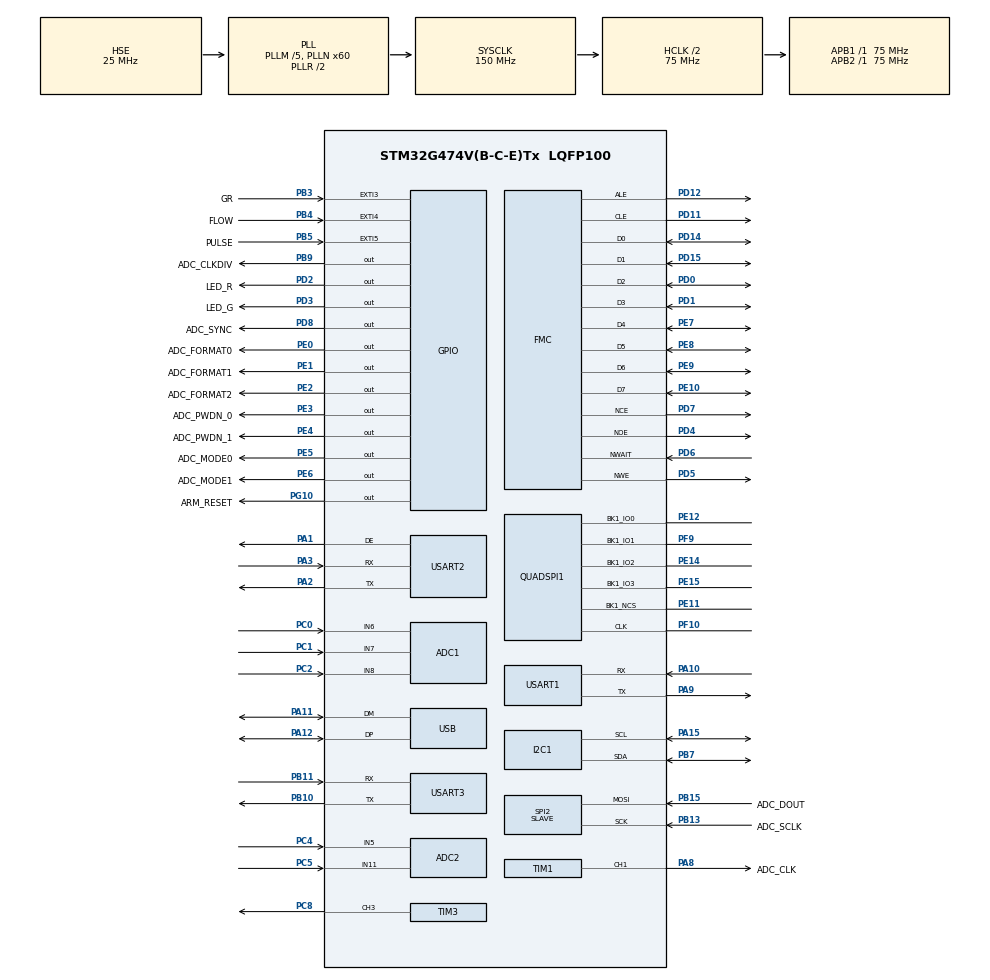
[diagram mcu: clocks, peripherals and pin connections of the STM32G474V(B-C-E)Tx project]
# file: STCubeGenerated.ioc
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ADC1.Channel-0\#ChannelRegularConversion=ADC_CHANNEL_6
ADC1.NbrOfConversionFlag=1
ADC1.OffsetNumber-0\#ChannelRegularConversion=ADC_OFFSET_NONE
ADC1.Rank-0\#ChannelRegularConversion=1
ADC1.SamplingTime-0\#ChannelRegularConversion=ADC_SAMPLETIME_2CYCLES_5
ADC1.master=1
ADC2.Channel-0\#ChannelRegularConversion=ADC_CHANNEL_5
ADC2.NbrOfConversionFlag=1
ADC2.OffsetNumber-0\#ChannelRegularConversion=ADC_OFFSET_NONE
ADC2.Rank-0\#ChannelRegularConversion=1
ADC2.SamplingTime-0\#ChannelRegularConversion=ADC_SAMPLETIME_2CYCLES_5
Dma.Request0=USART1_RX
Dma.Request1=USART1_TX
Dma.Request2=USART2_RX
Dma.Request3=USART2_TX
Dma.Request4=USART3_RX
Dma.Request5=USART3_TX
Dma.USART1_RX.0.Direction=DMA_PERIPH_TO_MEMORY
Dma.USART1_RX.0.EventEnable=DISABLE
Dma.USART1_RX.0.Instance=DMA1_Channel1
Dma.USART1_RX.0.MemDataAlignment=DMA_MDATAALIGN_BYTE
Dma.USART1_RX.0.MemInc=DMA_MINC_ENABLE
Dma.USART1_RX.0.Mode=DMA_CIRCULAR
Dma.USART1_RX.0.PeriphDataAlignment=DMA_PDATAALIGN_BYTE
Dma.USART1_RX.0.PeriphInc=DMA_PINC_DISABLE
Dma.USART1_RX.0.Polarity=HAL_DMAMUX_REQ_GEN_RISING
Dma.USART1_RX.0.Priority=DMA_PRIORITY_LOW
Dma.USART1_RX.0.RequestNumber=1
Dma.USART1_RX.0.SignalID=NONE
Dma.USART1_RX.0.SyncEnable=DISABLE
Dma.USART1_RX.0.SyncPolarity=HAL_DMAMUX_SYNC_NO_EVENT
Dma.USART1_RX.0.SyncRequestNumber=1
Dma.USART1_RX.0.SyncSignalID=NONE
Dma.USART1_TX.1.Direction=DMA_MEMORY_TO_PERIPH
Dma.USART1_TX.1.EventEnable=DISABLE
Dma.USART1_TX.1.Instance=DMA1_Channel2
Dma.USART1_TX.1.MemDataAlignment=DMA_MDATAALIGN_BYTE
Dma.USART1_TX.1.MemInc=DMA_MINC_ENABLE
Dma.USART1_TX.1.Mode=DMA_NORMAL
Dma.USART1_TX.1.PeriphDataAlignment=DMA_PDATAALIGN_BYTE
Dma.USART1_TX.1.PeriphInc=DMA_PINC_DISABLE
Dma.USART1_TX.1.Polarity=HAL_DMAMUX_REQ_GEN_RISING
Dma.USART1_TX.1.Priority=DMA_PRIORITY_LOW
Dma.USART1_TX.1.RequestNumber=1
Dma.USART1_TX.1.SignalID=NONE
Dma.USART1_TX.1.SyncEnable=DISABLE
Dma.USART1_TX.1.SyncPolarity=HAL_DMAMUX_SYNC_NO_EVENT
Dma.USART1_TX.1.SyncRequestNumber=1
Dma.USART1_TX.1.SyncSignalID=NONE
Dma.USART2_RX.2.Direction=DMA_PERIPH_TO_MEMORY
Dma.USART2_RX.2.EventEnable=DISABLE
Dma.USART2_RX.2.Instance=DMA1_Channel3
Dma.USART2_RX.2.MemDataAlignment=DMA_MDATAALIGN_BYTE
Dma.USART2_RX.2.MemInc=DMA_MINC_ENABLE
Dma.USART2_RX.2.Mode=DMA_CIRCULAR
Dma.USART2_RX.2.PeriphDataAlignment=DMA_PDATAALIGN_BYTE
Dma.USART2_RX.2.PeriphInc=DMA_PINC_DISABLE
Dma.USART2_RX.2.Polarity=HAL_DMAMUX_REQ_GEN_RISING
Dma.USART2_RX.2.Priority=DMA_PRIORITY_LOW
Dma.USART2_RX.2.RequestNumber=1
Dma.USART2_RX.2.SignalID=NONE
Dma.USART2_RX.2.SyncEnable=DISABLE
Dma.USART2_RX.2.SyncPolarity=HAL_DMAMUX_SYNC_NO_EVENT
Dma.USART2_RX.2.SyncRequestNumber=1
Dma.USART2_RX.2.SyncSignalID=NONE
Dma.USART2_TX.3.Direction=DMA_MEMORY_TO_PERIPH
Dma.USART2_TX.3.EventEnable=DISABLE
Dma.USART2_TX.3.Instance=DMA1_Channel4
Dma.USART2_TX.3.MemDataAlignment=DMA_MDATAALIGN_BYTE
Dma.USART2_TX.3.MemInc=DMA_MINC_ENABLE
Dma.USART2_TX.3.Mode=DMA_NORMAL
Dma.USART2_TX.3.PeriphDataAlignment=DMA_PDATAALIGN_BYTE
Dma.USART2_TX.3.PeriphInc=DMA_PINC_DISABLE
Dma.USART2_TX.3.Polarity=HAL_DMAMUX_REQ_GEN_RISING
Dma.USART2_TX.3.Priority=DMA_PRIORITY_LOW
Dma.USART2_TX.3.RequestNumber=1
Dma.USART2_TX.3.SignalID=NONE
Dma.USART2_TX.3.SyncEnable=DISABLE
Dma.USART2_TX.3.SyncPolarity=HAL_DMAMUX_SYNC_NO_EVENT
Dma.USART2_TX.3.SyncRequestNumber=1
Dma.USART2_TX.3.SyncSignalID=NONE
Dma.USART3_RX.4.Direction=DMA_PERIPH_TO_MEMORY
Dma.USART3_RX.4.EventEnable=DISABLE
Dma.USART3_RX.4.Instance=DMA1_Channel5
Dma.USART3_RX.4.MemDataAlignment=DMA_MDATAALIGN_BYTE
Dma.USART3_RX.4.MemInc=DMA_MINC_ENABLE
Dma.USART3_RX.4.Mode=DMA_CIRCULAR
Dma.USART3_RX.4.PeriphDataAlignment=DMA_PDATAALIGN_BYTE
Dma.USART3_RX.4.PeriphInc=DMA_PINC_DISABLE
Dma.USART3_RX.4.Polarity=HAL_DMAMUX_REQ_GEN_RISING
Dma.USART3_RX.4.Priority=DMA_PRIORITY_LOW
Dma.USART3_RX.4.RequestNumber=1
Dma.USART3_RX.4.SignalID=NONE
Dma.USART3_RX.4.SyncEnable=DISABLE
Dma.USART3_RX.4.SyncPolarity=HAL_DMAMUX_SYNC_NO_EVENT
Dma.USART3_RX.4.SyncRequestNumber=1
Dma.USART3_RX.4.SyncSignalID=NONE
Dma.USART3_TX.5.Direction=DMA_MEMORY_TO_PERIPH
Dma.USART3_TX.5.EventEnable=DISABLE
Dma.USART3_TX.5.Instance=DMA1_Channel6
Dma.USART3_TX.5.MemDataAlignment=DMA_MDATAALIGN_BYTE
Dma.USART3_TX.5.MemInc=DMA_MINC_ENABLE
Dma.USART3_TX.5.Mode=DMA_NORMAL
Dma.USART3_TX.5.PeriphDataAlignment=DMA_PDATAALIGN_BYTE
Dma.USART3_TX.5.PeriphInc=DMA_PINC_DISABLE
Dma.USART3_TX.5.Polarity=HAL_DMAMUX_REQ_GEN_RISING
Dma.USART3_TX.5.Priority=DMA_PRIORITY_LOW
Dma.USART3_TX.5.RequestNumber=1
Dma.USART3_TX.5.SignalID=NONE
Dma.USART3_TX.5.SyncEnable=DISABLE
Dma.USART3_TX.5.SyncPolarity=HAL_DMAMUX_SYNC_NO_EVENT
Dma.USART3_TX.5.SyncRequestNumber=1
Dma.USART3_TX.5.SyncSignalID=NONE
I2C1.Timing=0x109093DC
Mcu.Family=STM32G4
Mcu.Name=STM32G474V(B-C-E)Tx
Mcu.Package=LQFP100
NVIC.DMA1_Channel1_IRQn=true\:0\:0\:false\:false\:true\:false\:true\:true
NVIC.DMA1_Channel2_IRQn=true\:0\:0\:false\:false\:true\:false\:true\:true
NVIC.DMA1_Channel3_IRQn=true\:0\:0\:false\:false\:true\:false\:true\:true
NVIC.DMA1_Channel4_IRQn=true\:0\:0\:false\:false\:true\:false\:true\:true
NVIC.DMA1_Channel5_IRQn=true\:0\:0\:false\:false\:true\:false\:true\:true
NVIC.DMA1_Channel6_IRQn=true\:0\:0\:false\:false\:true\:false\:true\:true
NVIC.PriorityGroup=NVIC_PRIORITYGROUP_4
NVIC.USART1_IRQn=true\:0\:0\:false\:false\:true\:true\:true\:true
NVIC.USART2_IRQn=true\:0\:0\:false\:false\:true\:true\:true\:true
NVIC.USART3_IRQn=true\:0\:0\:false\:false\:true\:true\:true\:true
PA1.Mode=Hardware Flow Control (RS485)
PA1.Signal=USART2_DE
PA10.Mode=Asynchronous
PA10.Signal=USART1_RX
PA11.Mode=Device
PA11.Signal=USB_DM
PA12.Mode=Device
PA12.Signal=USB_DP
PA13.Mode=Serial_Wire
PA13.Signal=SYS_JTMS-SWDIO
PA14.Mode=Serial_Wire
PA14.Signal=SYS_JTCK-SWCLK
PA15.Mode=I2C
PA15.Signal=I2C1_SCL
PA2.Mode=Asynchronous
PA2.Signal=USART2_TX
PA3.Mode=Asynchronous
PA3.Signal=USART2_RX
PA8.GPIO_Label=ADC_CLK
PA8.Signal=S_TIM1_CH1
PA9.Mode=Asynchronous
PA9.Signal=USART1_TX
PB10.Mode=Asynchronous
PB10.Signal=USART3_TX
PB11.Mode=Asynchronous
PB11.Signal=USART3_RX
PB13.GPIO_Label=ADC_SCLK
PB13.Mode=RX_Only_Simplex_Unidirect_Slave
PB13.Signal=SPI2_SCK
PB15.GPIO_Label=ADC_DOUT
PB15.Mode=RX_Only_Simplex_Unidirect_Slave
PB15.Signal=SPI2_MOSI
PB3.GPIO_Label=GR
PB3.Signal=GPXTI3
PB4.GPIO_Label=FLOW
PB4.Signal=GPXTI4
PB5.GPIO_Label=PULSE
PB5.Signal=GPXTI5
PB7.Mode=I2C
PB7.Signal=I2C1_SDA
PB9.GPIO_Label=ADC_CLKDIV
PB9.Signal=GPIO_Output
PC0.Mode=IN6-Single-Ended
PC0.Signal=ADC1_IN6
PC1.Mode=IN7-Single-Ended
PC1.Signal=ADC1_IN7
PC2.Mode=IN8-Single-Ended
PC2.Signal=ADC1_IN8
PC4.Mode=IN5-Single-Ended
PC4.Signal=ADC2_IN5
PC5.Mode=IN11-Single-Ended
PC5.Signal=ADC2_IN11
PC8.Signal=S_TIM3_CH3
PD0.Mode=8b-dmux1
PD0.Signal=FMC_D2
PD1.Mode=8b-dmux1
PD1.Signal=FMC_D3
PD11.Mode=8b-dmux1
PD11.Signal=FMC_CLE
PD12.Mode=8b-dmux1
PD12.Signal=FMC_ALE
PD14.Mode=8b-dmux1
PD14.Signal=FMC_D0
PD15.Mode=8b-dmux1
PD15.Signal=FMC_D1
PD2.GPIO_Label=LED_R
PD2.GPIO_PuPd=GPIO_NOPULL
PD2.GPIO_Speed=GPIO_SPEED_FREQ_HIGH
PD2.PinState=GPIO_PIN_SET
PD2.Signal=GPIO_Output
PD3.GPIO_Label=LED_G
PD3.GPIO_ModeDefaultOutputPP=GPIO_MODE_OUTPUT_PP
PD3.GPIO_PuPd=GPIO_NOPULL
PD3.GPIO_Speed=GPIO_SPEED_FREQ_HIGH
PD3.PinState=GPIO_PIN_SET
PD3.Signal=GPIO_Output
PD4.Mode=8b-dmux1
PD4.Signal=FMC_NOE
PD5.Mode=8b-dmux1
PD5.Signal=FMC_NWE
PD6.Mode=Wait1
PD6.Signal=FMC_NWAIT
PD7.Mode=NandChipSelect3_1
PD7.Signal=FMC_NCE
PD8.GPIO_Label=ADC_SYNC
PD8.Signal=GPIO_Output
PE0.GPIO_Label=ADC_FORMAT0
PE0.PinState=GPIO_PIN_SET
PE0.Signal=GPIO_Output
PE1.GPIO_Label=ADC_FORMAT1
PE1.PinState=GPIO_PIN_SET
PE1.Signal=GPIO_Output
PE10.Mode=8b-dmux1
PE10.Signal=FMC_D7
PE11.Mode=Single Bank 1
PE11.Signal=QUADSPI1_BK1_NCS
PE12.Mode=Single Bank 1
PE12.Signal=QUADSPI1_BK1_IO0
PE14.Mode=Single Bank 1
PE14.Signal=QUADSPI1_BK1_IO2
PE15.Mode=Single Bank 1
PE15.Signal=QUADSPI1_BK1_IO3
PE2.GPIO_Label=ADC_FORMAT2
PE2.Signal=GPIO_Output
PE3.GPIO_Label=ADC_PWDN_0
PE3.Signal=GPIO_Output
PE4.GPIO_Label=ADC_PWDN_1
PE4.Signal=GPIO_Output
PE5.GPIO_Label=ADC_MODE0
PE5.PinState=GPIO_PIN_SET
PE5.Signal=GPIO_Output
PE6.GPIO_Label=ADC_MODE1
PE6.PinState=GPIO_PIN_SET
PE6.Signal=GPIO_Output
PE7.Mode=8b-dmux1
PE7.Signal=FMC_D4
PE8.Mode=8b-dmux1
PE8.Signal=FMC_D5
PE9.Mode=8b-dmux1
PE9.Signal=FMC_D6
PF0-OSC_IN.Mode=HSE-External-Clock-Source
PF0-OSC_IN.Signal=RCC_OSC_IN
PF10.Mode=Single Bank 1
PF10.Signal=QUADSPI1_CLK
PF9.Mode=Single Bank 1
PF9.Signal=QUADSPI1_BK1_IO1
PG10-NRST.GPIO_Label=ARM_RESET
PG10-NRST.Signal=GPIO_Output
ProjectManager.HeapSize=0x2000
ProjectManager.StackSize=0x2000
ProjectManager.TargetToolchain=MDK-ARM V5.32
RCC.ADC12Freq_Value=150000000
RCC.ADC345Freq_Value=150000000
RCC.AHBCLKDivider=RCC_SYSCLK_DIV2
RCC.AHBFreq_Value=75000000
RCC.APB1Freq_Value=75000000
RCC.APB1TimFreq_Value=75000000
RCC.APB2Freq_Value=75000000
RCC.APB2TimFreq_Value=75000000
RCC.CK48CLockSelection=RCC_USBCLKSOURCE_HSI48
RCC.CortexFreq_Value=75000000
RCC.EXTERNAL_CLOCK_VALUE=12288000
RCC.HCLKFreq_Value=75000000
RCC.HSE_VALUE=25000000
RCC.HSI48_VALUE=48000000
RCC.HSI_VALUE=16000000
RCC.LSE_VALUE=32768
RCC.PLLM=RCC_PLLM_DIV5
RCC.PLLN=60
RCC.PLLQ=RCC_PLLQ_DIV4
RCC.PLLSourceVirtual=RCC_PLLSOURCE_HSE
RCC.SYSCLKFreq_VALUE=150000000
RCC.SYSCLKSource=RCC_SYSCLKSOURCE_PLLCLK
RCC.USBFreq_Value=48000000
RCC.VCOOutputFreq_Value=300000000
SH.S_TIM1_CH1.0=TIM1_CH1,PWM Generation1 CH1
SH.S_TIM3_CH3.0=TIM3_CH3,PWM Generation3 CH3
SPI2.Direction=SPI_DIRECTION_2LINES_RXONLY
SPI2.Mode=SPI_MODE_SLAVE
SPI2.VirtualType=VM_SLAVE
TIM1.Channel-PWM\ Generation1\ CH1=TIM_CHANNEL_1
TIM3.Channel-PWM\ Generation3\ CH3=TIM_CHANNEL_3
USART1.VirtualMode-Asynchronous=VM_ASYNC
USART2.VirtualMode-Asynchronous=VM_ASYNC
USART2.VirtualMode-Hardware\ Flow\ Control\ (RS485)=VM_ASYNC
USART3.VirtualMode-Asynchronous=VM_ASYNC
VP_SYS_VS_DBSignals.Mode=DisableDeadBatterySignals
VP_TIM1_VS_ClockSourceINT.Mode=Internal
board=custom

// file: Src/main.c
/* USER CODE BEGIN Header */
/**
  ******************************************************************************
  * @file           : main.c
  * @brief          : Main program body
  ******************************************************************************
  * @attention
  *
  * Copyright (c) 2022 STMicroelectronics.
  * All rights reserved.
  *
  * This software is licensed under terms that can be found in the LICENSE file
  * in the root directory of this software component.
  * If no LICENSE file comes with this software, it is provided AS-IS.
  *
  ******************************************************************************
  */
/* USER CODE END Header */
#include "main.h"

ADC_HandleTypeDef hadc1;
ADC_HandleTypeDef hadc2;

I2C_HandleTypeDef hi2c1;

QSPI_HandleTypeDef hqspi1;

SPI_HandleTypeDef hspi2;

TIM_HandleTypeDef htim1;
TIM_HandleTypeDef htim3;

UART_HandleTypeDef huart1;
UART_HandleTypeDef huart2;
UART_HandleTypeDef huart3;
DMA_HandleTypeDef hdma_usart1_rx;
DMA_HandleTypeDef hdma_usart1_tx;
DMA_HandleTypeDef hdma_usart2_rx;
DMA_HandleTypeDef hdma_usart2_tx;
DMA_HandleTypeDef hdma_usart3_rx;
DMA_HandleTypeDef hdma_usart3_tx;

PCD_HandleTypeDef hpcd_USB_FS;

NAND_HandleTypeDef hnand1;

void SystemClock_Config(void);
static void MX_GPIO_Init(void);
static void MX_QUADSPI1_Init(void);
static void MX_ADC1_Init(void);
static void MX_FMC_Init(void);
static void MX_I2C1_Init(void);
static void MX_SPI2_Init(void);
static void MX_TIM1_Init(void);
static void MX_TIM3_Init(void);
static void MX_USART1_UART_Init(void);
static void MX_DMA_Init(void);
static void MX_USART3_UART_Init(void);
static void MX_ADC2_Init(void);
static void MX_USB_PCD_Init(void);
static void MX_USART2_UART_Init(void);

/* USER CODE BEGIN 0 */
#if 1
uint32_t HAL_GetTick(void)
{
  static uint32_t ticks = 0U;
  uint32_t i;

  if (osKernelGetState() == osKernelRunning)
  {
    return ((uint32_t)osKernelGetTickCount());
  }

  /* If Kernel is not running wait approximately 1 ms then increment
     and return auxiliary tick counter value */
  for (i = (SystemCoreClock >> 14U); i > 0U; i--)
  {
    __NOP();
    __NOP();
    __NOP();
    __NOP();
    __NOP();
    __NOP();
    __NOP();
    __NOP();
    __NOP();
    __NOP();
    __NOP();
    __NOP();
  }
  return ++ticks;
}
#endif

uint32_t osRtxErrorNotify(uint32_t code, void *object_id)
{
  NVIC_SystemReset();
}
/* USER CODE END 0 */

int main(void)
{

  /* MCU Configuration--------------------------------------------------------*/

  /* Reset of all peripherals, Initializes the Flash interface and the Systick. */
  HAL_Init();

  /* Configure the system clock */
  SystemClock_Config();

  /* USER CODE BEGIN SysInit */
  SystemCoreClockUpdate();
  /* USER CODE END SysInit */

  /* Initialize all configured peripherals */
  MX_GPIO_Init();
  MX_QUADSPI1_Init();
  MX_ADC1_Init();
  MX_FMC_Init();
  MX_I2C1_Init();
  MX_SPI2_Init();
  MX_TIM1_Init();
  MX_TIM3_Init();
  MX_USART1_UART_Init();
  MX_DMA_Init();
  MX_USART3_UART_Init();
  MX_ADC2_Init();
  MX_USB_PCD_Init();
  MX_USART2_UART_Init();
  /* USER CODE BEGIN 2 */
   Creat_user_app_init_task();

	EventRecorderInitialize(EventRecordAll, 1U);
	EventRecorderStart();

  /* Start thread execution */
  osKernelStart();

  /* USER CODE END 2 */

  /* Infinite loop */
  while (1)
  {

  }
}

void SystemClock_Config(void)
{
  RCC_OscInitTypeDef RCC_OscInitStruct = {0};
  RCC_ClkInitTypeDef RCC_ClkInitStruct = {0};

  /** Configure the main internal regulator output voltage
  */
  HAL_PWREx_ControlVoltageScaling(PWR_REGULATOR_VOLTAGE_SCALE1);

  /** Initializes the RCC Oscillators according to the specified parameters
  * in the RCC_OscInitTypeDef structure.
  */
  RCC_OscInitStruct.OscillatorType = RCC_OSCILLATORTYPE_HSI48|RCC_OSCILLATORTYPE_HSE;
  RCC_OscInitStruct.HSEState = RCC_HSE_BYPASS;
  RCC_OscInitStruct.HSI48State = RCC_HSI48_ON;
  RCC_OscInitStruct.PLL.PLLState = RCC_PLL_ON;
  RCC_OscInitStruct.PLL.PLLSource = RCC_PLLSOURCE_HSE;
  RCC_OscInitStruct.PLL.PLLM = RCC_PLLM_DIV5;
  RCC_OscInitStruct.PLL.PLLN = 60;
  RCC_OscInitStruct.PLL.PLLP = RCC_PLLP_DIV2;
  RCC_OscInitStruct.PLL.PLLQ = RCC_PLLQ_DIV4;
  RCC_OscInitStruct.PLL.PLLR = RCC_PLLR_DIV2;
  if (HAL_RCC_OscConfig(&RCC_OscInitStruct) != HAL_OK)
  {
    Error_Handler();
  }

  /** Initializes the CPU, AHB and APB buses clocks
  */
  RCC_ClkInitStruct.ClockType = RCC_CLOCKTYPE_HCLK|RCC_CLOCKTYPE_SYSCLK
                              |RCC_CLOCKTYPE_PCLK1|RCC_CLOCKTYPE_PCLK2;
  RCC_ClkInitStruct.SYSCLKSource = RCC_SYSCLKSOURCE_PLLCLK;
  RCC_ClkInitStruct.AHBCLKDivider = RCC_SYSCLK_DIV2;
  RCC_ClkInitStruct.APB1CLKDivider = RCC_HCLK_DIV1;
  RCC_ClkInitStruct.APB2CLKDivider = RCC_HCLK_DIV1;

  if (HAL_RCC_ClockConfig(&RCC_ClkInitStruct, FLASH_LATENCY_2) != HAL_OK)
  {
    Error_Handler();
  }
}

static void MX_ADC1_Init(void)
{

  ADC_MultiModeTypeDef multimode = {0};
  ADC_ChannelConfTypeDef sConfig = {0};

  /** Common config
  */
  hadc1.Instance = ADC1;
  hadc1.Init.ClockPrescaler = ADC_CLOCK_SYNC_PCLK_DIV2;
  hadc1.Init.Resolution = ADC_RESOLUTION_12B;
  hadc1.Init.DataAlign = ADC_DATAALIGN_RIGHT;
  hadc1.Init.GainCompensation = 0;
  hadc1.Init.ScanConvMode = ADC_SCAN_DISABLE;
  hadc1.Init.EOCSelection = ADC_EOC_SINGLE_CONV;
  hadc1.Init.LowPowerAutoWait = DISABLE;
  hadc1.Init.ContinuousConvMode = DISABLE;
  hadc1.Init.NbrOfConversion = 1;
  hadc1.Init.DiscontinuousConvMode = DISABLE;
  hadc1.Init.ExternalTrigConv = ADC_SOFTWARE_START;
  hadc1.Init.ExternalTrigConvEdge = ADC_EXTERNALTRIGCONVEDGE_NONE;
  hadc1.Init.DMAContinuousRequests = DISABLE;
  hadc1.Init.Overrun = ADC_OVR_DATA_PRESERVED;
  hadc1.Init.OversamplingMode = DISABLE;
  if (HAL_ADC_Init(&hadc1) != HAL_OK)
  {
    Error_Handler();
  }

  /** Configure the ADC multi-mode
  */
  multimode.Mode = ADC_MODE_INDEPENDENT;
  if (HAL_ADCEx_MultiModeConfigChannel(&hadc1, &multimode) != HAL_OK)
  {
    Error_Handler();
  }

  /** Configure Regular Channel
  */
  sConfig.Channel = ADC_CHANNEL_6;
  sConfig.Rank = ADC_REGULAR_RANK_1;
  sConfig.SamplingTime = ADC_SAMPLETIME_2CYCLES_5;
  sConfig.SingleDiff = ADC_SINGLE_ENDED;
  sConfig.OffsetNumber = ADC_OFFSET_NONE;
  sConfig.Offset = 0;
  if (HAL_ADC_ConfigChannel(&hadc1, &sConfig) != HAL_OK)
  {
    Error_Handler();
  }

}

static void MX_ADC2_Init(void)
{

  ADC_ChannelConfTypeDef sConfig = {0};

  /** Common config
  */
  hadc2.Instance = ADC2;
  hadc2.Init.ClockPrescaler = ADC_CLOCK_SYNC_PCLK_DIV2;
  hadc2.Init.Resolution = ADC_RESOLUTION_12B;
  hadc2.Init.DataAlign = ADC_DATAALIGN_RIGHT;
  hadc2.Init.GainCompensation = 0;
  hadc2.Init.ScanConvMode = ADC_SCAN_DISABLE;
  hadc2.Init.EOCSelection = ADC_EOC_SINGLE_CONV;
  hadc2.Init.LowPowerAutoWait = DISABLE;
  hadc2.Init.ContinuousConvMode = DISABLE;
  hadc2.Init.NbrOfConversion = 1;
  hadc2.Init.DiscontinuousConvMode = DISABLE;
  hadc2.Init.ExternalTrigConv = ADC_SOFTWARE_START;
  hadc2.Init.ExternalTrigConvEdge = ADC_EXTERNALTRIGCONVEDGE_NONE;
  hadc2.Init.DMAContinuousRequests = DISABLE;
  hadc2.Init.Overrun = ADC_OVR_DATA_PRESERVED;
  hadc2.Init.OversamplingMode = DISABLE;
  if (HAL_ADC_Init(&hadc2) != HAL_OK)
  {
    Error_Handler();
  }

  /** Configure Regular Channel
  */
  sConfig.Channel = ADC_CHANNEL_5;
  sConfig.Rank = ADC_REGULAR_RANK_1;
  sConfig.SamplingTime = ADC_SAMPLETIME_2CYCLES_5;
  sConfig.SingleDiff = ADC_SINGLE_ENDED;
  sConfig.OffsetNumber = ADC_OFFSET_NONE;
  sConfig.Offset = 0;
  if (HAL_ADC_ConfigChannel(&hadc2, &sConfig) != HAL_OK)
  {
    Error_Handler();
  }

}

static void MX_I2C1_Init(void)
{

  hi2c1.Instance = I2C1;
  hi2c1.Init.Timing = 0x109093DC;
  hi2c1.Init.OwnAddress1 = 0;
  hi2c1.Init.AddressingMode = I2C_ADDRESSINGMODE_7BIT;
  hi2c1.Init.DualAddressMode = I2C_DUALADDRESS_DISABLE;
  hi2c1.Init.OwnAddress2 = 0;
  hi2c1.Init.OwnAddress2Masks = I2C_OA2_NOMASK;
  hi2c1.Init.GeneralCallMode = I2C_GENERALCALL_DISABLE;
  hi2c1.Init.NoStretchMode = I2C_NOSTRETCH_DISABLE;
  if (HAL_I2C_Init(&hi2c1) != HAL_OK)
  {
    Error_Handler();
  }

  /** Configure Analogue filter
  */
  if (HAL_I2CEx_ConfigAnalogFilter(&hi2c1, I2C_ANALOGFILTER_ENABLE) != HAL_OK)
  {
    Error_Handler();
  }

  /** Configure Digital filter
  */
  if (HAL_I2CEx_ConfigDigitalFilter(&hi2c1, 0) != HAL_OK)
  {
    Error_Handler();
  }

}

static void MX_QUADSPI1_Init(void)
{

  /* QUADSPI1 parameter configuration*/
  hqspi1.Instance = QUADSPI;
  hqspi1.Init.ClockPrescaler = 255;
  hqspi1.Init.FifoThreshold = 1;
  hqspi1.Init.SampleShifting = QSPI_SAMPLE_SHIFTING_NONE;
  hqspi1.Init.FlashSize = 1;
  hqspi1.Init.ChipSelectHighTime = QSPI_CS_HIGH_TIME_1_CYCLE;
  hqspi1.Init.ClockMode = QSPI_CLOCK_MODE_0;
  hqspi1.Init.FlashID = QSPI_FLASH_ID_1;
  hqspi1.Init.DualFlash = QSPI_DUALFLASH_DISABLE;
  if (HAL_QSPI_Init(&hqspi1) != HAL_OK)
  {
    Error_Handler();
  }

}

static void MX_SPI2_Init(void)
{

  /* SPI2 parameter configuration*/
  hspi2.Instance = SPI2;
  hspi2.Init.Mode = SPI_MODE_SLAVE;
  hspi2.Init.Direction = SPI_DIRECTION_2LINES_RXONLY;
  hspi2.Init.DataSize = SPI_DATASIZE_4BIT;
  hspi2.Init.CLKPolarity = SPI_POLARITY_LOW;
  hspi2.Init.CLKPhase = SPI_PHASE_1EDGE;
  hspi2.Init.NSS = SPI_NSS_SOFT;
  hspi2.Init.FirstBit = SPI_FIRSTBIT_MSB;
  hspi2.Init.TIMode = SPI_TIMODE_DISABLE;
  hspi2.Init.CRCCalculation = SPI_CRCCALCULATION_DISABLE;
  hspi2.Init.CRCPolynomial = 7;
  hspi2.Init.CRCLength = SPI_CRC_LENGTH_DATASIZE;
  hspi2.Init.NSSPMode = SPI_NSS_PULSE_DISABLE;
  if (HAL_SPI_Init(&hspi2) != HAL_OK)
  {
    Error_Handler();
  }

}

static void MX_TIM1_Init(void)
{

  TIM_ClockConfigTypeDef sClockSourceConfig = {0};
  TIM_MasterConfigTypeDef sMasterConfig = {0};
  TIM_OC_InitTypeDef sConfigOC = {0};
  TIM_BreakDeadTimeConfigTypeDef sBreakDeadTimeConfig = {0};

  htim1.Instance = TIM1;
  htim1.Init.Prescaler = 0;
  htim1.Init.CounterMode = TIM_COUNTERMODE_UP;
  htim1.Init.Period = 65535;
  htim1.Init.ClockDivision = TIM_CLOCKDIVISION_DIV1;
  htim1.Init.RepetitionCounter = 0;
  htim1.Init.AutoReloadPreload = TIM_AUTORELOAD_PRELOAD_DISABLE;
  if (HAL_TIM_Base_Init(&htim1) != HAL_OK)
  {
    Error_Handler();
  }
  sClockSourceConfig.ClockSource = TIM_CLOCKSOURCE_INTERNAL;
  if (HAL_TIM_ConfigClockSource(&htim1, &sClockSourceConfig) != HAL_OK)
  {
    Error_Handler();
  }
  if (HAL_TIM_PWM_Init(&htim1) != HAL_OK)
  {
    Error_Handler();
  }
  sMasterConfig.MasterOutputTrigger = TIM_TRGO_RESET;
  sMasterConfig.MasterOutputTrigger2 = TIM_TRGO2_RESET;
  sMasterConfig.MasterSlaveMode = TIM_MASTERSLAVEMODE_DISABLE;
  if (HAL_TIMEx_MasterConfigSynchronization(&htim1, &sMasterConfig) != HAL_OK)
  {
    Error_Handler();
  }
  sConfigOC.OCMode = TIM_OCMODE_PWM1;
  sConfigOC.Pulse = 0;
  sConfigOC.OCPolarity = TIM_OCPOLARITY_HIGH;
  sConfigOC.OCNPolarity = TIM_OCNPOLARITY_HIGH;
  sConfigOC.OCFastMode = TIM_OCFAST_DISABLE;
  sConfigOC.OCIdleState = TIM_OCIDLESTATE_RESET;
  sConfigOC.OCNIdleState = TIM_OCNIDLESTATE_RESET;
  if (HAL_TIM_PWM_ConfigChannel(&htim1, &sConfigOC, TIM_CHANNEL_1) != HAL_OK)
  {
    Error_Handler();
  }
  sBreakDeadTimeConfig.OffStateRunMode = TIM_OSSR_DISABLE;
  sBreakDeadTimeConfig.OffStateIDLEMode = TIM_OSSI_DISABLE;
  sBreakDeadTimeConfig.LockLevel = TIM_LOCKLEVEL_OFF;
  sBreakDeadTimeConfig.DeadTime = 0;
  sBreakDeadTimeConfig.BreakState = TIM_BREAK_DISABLE;
  sBreakDeadTimeConfig.BreakPolarity = TIM_BREAKPOLARITY_HIGH;
  sBreakDeadTimeConfig.BreakFilter = 0;
  sBreakDeadTimeConfig.BreakAFMode = TIM_BREAK_AFMODE_INPUT;
  sBreakDeadTimeConfig.Break2State = TIM_BREAK2_DISABLE;
  sBreakDeadTimeConfig.Break2Polarity = TIM_BREAK2POLARITY_HIGH;
  sBreakDeadTimeConfig.Break2Filter = 0;
  sBreakDeadTimeConfig.Break2AFMode = TIM_BREAK_AFMODE_INPUT;
  sBreakDeadTimeConfig.AutomaticOutput = TIM_AUTOMATICOUTPUT_DISABLE;
  if (HAL_TIMEx_ConfigBreakDeadTime(&htim1, &sBreakDeadTimeConfig) != HAL_OK)
  {
    Error_Handler();
  }
  HAL_TIM_MspPostInit(&htim1);

}

static void MX_TIM3_Init(void)
{

  TIM_MasterConfigTypeDef sMasterConfig = {0};
  TIM_OC_InitTypeDef sConfigOC = {0};

  htim3.Instance = TIM3;
  htim3.Init.Prescaler = 0;
  htim3.Init.CounterMode = TIM_COUNTERMODE_UP;
  htim3.Init.Period = 65535;
  htim3.Init.ClockDivision = TIM_CLOCKDIVISION_DIV1;
  htim3.Init.AutoReloadPreload = TIM_AUTORELOAD_PRELOAD_DISABLE;
  if (HAL_TIM_PWM_Init(&htim3) != HAL_OK)
  {
    Error_Handler();
  }
  sMasterConfig.MasterOutputTrigger = TIM_TRGO_RESET;
  sMasterConfig.MasterSlaveMode = TIM_MASTERSLAVEMODE_DISABLE;
  if (HAL_TIMEx_MasterConfigSynchronization(&htim3, &sMasterConfig) != HAL_OK)
  {
    Error_Handler();
  }
  sConfigOC.OCMode = TIM_OCMODE_PWM1;
  sConfigOC.Pulse = 0;
  sConfigOC.OCPolarity = TIM_OCPOLARITY_HIGH;
  sConfigOC.OCFastMode = TIM_OCFAST_DISABLE;
  if (HAL_TIM_PWM_ConfigChannel(&htim3, &sConfigOC, TIM_CHANNEL_3) != HAL_OK)
  {
    Error_Handler();
  }
  HAL_TIM_MspPostInit(&htim3);

}

static void MX_USART1_UART_Init(void)
{

  huart1.Instance = USART1;
  huart1.Init.BaudRate = 115200;
  huart1.Init.WordLength = UART_WORDLENGTH_8B;
  huart1.Init.StopBits = UART_STOPBITS_1;
  huart1.Init.Parity = UART_PARITY_NONE;
  huart1.Init.Mode = UART_MODE_TX_RX;
  huart1.Init.HwFlowCtl = UART_HWCONTROL_NONE;
  huart1.Init.OverSampling = UART_OVERSAMPLING_16;
  huart1.Init.OneBitSampling = UART_ONE_BIT_SAMPLE_DISABLE;
  huart1.Init.ClockPrescaler = UART_PRESCALER_DIV1;
  huart1.AdvancedInit.AdvFeatureInit = UART_ADVFEATURE_NO_INIT;
  if (HAL_UART_Init(&huart1) != HAL_OK)
  {
    Error_Handler();
  }
  if (HAL_UARTEx_SetTxFifoThreshold(&huart1, UART_TXFIFO_THRESHOLD_1_8) != HAL_OK)
  {
    Error_Handler();
  }
  if (HAL_UARTEx_SetRxFifoThreshold(&huart1, UART_RXFIFO_THRESHOLD_1_8) != HAL_OK)
  {
    Error_Handler();
  }
  if (HAL_UARTEx_DisableFifoMode(&huart1) != HAL_OK)
  {
    Error_Handler();
  }

}

static void MX_USART2_UART_Init(void)
{

  huart2.Instance = USART2;
  huart2.Init.BaudRate = 115200;
  huart2.Init.WordLength = UART_WORDLENGTH_8B;
  huart2.Init.StopBits = UART_STOPBITS_1;
  huart2.Init.Parity = UART_PARITY_NONE;
  huart2.Init.Mode = UART_MODE_TX_RX;
  huart2.Init.HwFlowCtl = UART_HWCONTROL_NONE;
  huart2.Init.OverSampling = UART_OVERSAMPLING_16;
  huart2.Init.OneBitSampling = UART_ONE_BIT_SAMPLE_DISABLE;
  huart2.Init.ClockPrescaler = UART_PRESCALER_DIV1;
  huart2.AdvancedInit.AdvFeatureInit = UART_ADVFEATURE_NO_INIT;
  if (HAL_RS485Ex_Init(&huart2, UART_DE_POLARITY_HIGH, 0, 0) != HAL_OK)
  {
    Error_Handler();
  }
  if (HAL_UARTEx_SetTxFifoThreshold(&huart2, UART_TXFIFO_THRESHOLD_1_8) != HAL_OK)
  {
    Error_Handler();
  }
  if (HAL_UARTEx_SetRxFifoThreshold(&huart2, UART_RXFIFO_THRESHOLD_1_8) != HAL_OK)
  {
    Error_Handler();
  }
  if (HAL_UARTEx_DisableFifoMode(&huart2) != HAL_OK)
  {
    Error_Handler();
  }

}

static void MX_USART3_UART_Init(void)
{

  huart3.Instance = USART3;
  huart3.Init.BaudRate = 115200;
  huart3.Init.WordLength = UART_WORDLENGTH_8B;
  huart3.Init.StopBits = UART_STOPBITS_1;
  huart3.Init.Parity = UART_PARITY_NONE;
  huart3.Init.Mode = UART_MODE_TX_RX;
  huart3.Init.HwFlowCtl = UART_HWCONTROL_NONE;
  huart3.Init.OverSampling = UART_OVERSAMPLING_16;
  huart3.Init.OneBitSampling = UART_ONE_BIT_SAMPLE_DISABLE;
  huart3.Init.ClockPrescaler = UART_PRESCALER_DIV1;
  huart3.AdvancedInit.AdvFeatureInit = UART_ADVFEATURE_NO_INIT;
  if (HAL_UART_Init(&huart3) != HAL_OK)
  {
    Error_Handler();
  }
  if (HAL_UARTEx_SetTxFifoThreshold(&huart3, UART_TXFIFO_THRESHOLD_1_8) != HAL_OK)
  {
    Error_Handler();
  }
  if (HAL_UARTEx_SetRxFifoThreshold(&huart3, UART_RXFIFO_THRESHOLD_1_8) != HAL_OK)
  {
    Error_Handler();
  }
  if (HAL_UARTEx_DisableFifoMode(&huart3) != HAL_OK)
  {
    Error_Handler();
  }

}

static void MX_USB_PCD_Init(void)
{

  hpcd_USB_FS.Instance = USB;
  hpcd_USB_FS.Init.dev_endpoints = 8;
  hpcd_USB_FS.Init.speed = PCD_SPEED_FULL;
  hpcd_USB_FS.Init.phy_itface = PCD_PHY_EMBEDDED;
  hpcd_USB_FS.Init.Sof_enable = DISABLE;
  hpcd_USB_FS.Init.low_power_enable = DISABLE;
  hpcd_USB_FS.Init.lpm_enable = DISABLE;
  hpcd_USB_FS.Init.battery_charging_enable = DISABLE;
  if (HAL_PCD_Init(&hpcd_USB_FS) != HAL_OK)
  {
    Error_Handler();
  }

}

static void MX_DMA_Init(void)
{

  /* DMA controller clock enable */
  __HAL_RCC_DMAMUX1_CLK_ENABLE();
  __HAL_RCC_DMA1_CLK_ENABLE();

  /* DMA interrupt init */
  /* DMA1_Channel1_IRQn interrupt configuration */
  HAL_NVIC_SetPriority(DMA1_Channel1_IRQn, 0, 0);
  HAL_NVIC_EnableIRQ(DMA1_Channel1_IRQn);
  /* DMA1_Channel2_IRQn interrupt configuration */
  HAL_NVIC_SetPriority(DMA1_Channel2_IRQn, 0, 0);
  HAL_NVIC_EnableIRQ(DMA1_Channel2_IRQn);
  /* DMA1_Channel3_IRQn interrupt configuration */
  HAL_NVIC_SetPriority(DMA1_Channel3_IRQn, 0, 0);
  HAL_NVIC_EnableIRQ(DMA1_Channel3_IRQn);
  /* DMA1_Channel4_IRQn interrupt configuration */
  HAL_NVIC_SetPriority(DMA1_Channel4_IRQn, 0, 0);
  HAL_NVIC_EnableIRQ(DMA1_Channel4_IRQn);
  /* DMA1_Channel5_IRQn interrupt configuration */
  HAL_NVIC_SetPriority(DMA1_Channel5_IRQn, 0, 0);
  HAL_NVIC_EnableIRQ(DMA1_Channel5_IRQn);
  /* DMA1_Channel6_IRQn interrupt configuration */
  HAL_NVIC_SetPriority(DMA1_Channel6_IRQn, 0, 0);
  HAL_NVIC_EnableIRQ(DMA1_Channel6_IRQn);

}

/* FMC initialization function */
static void MX_FMC_Init(void)
{

  FMC_NAND_PCC_TimingTypeDef ComSpaceTiming = {0};
  FMC_NAND_PCC_TimingTypeDef AttSpaceTiming = {0};

  /** Perform the NAND1 memory initialization sequence
  */
  hnand1.Instance = FMC_NAND_DEVICE;
  /* hnand1.Init */
  hnand1.Init.NandBank = FMC_NAND_BANK3;
  hnand1.Init.Waitfeature = FMC_NAND_WAIT_FEATURE_ENABLE;
  hnand1.Init.MemoryDataWidth = FMC_NAND_MEM_BUS_WIDTH_8;
  hnand1.Init.EccComputation = FMC_NAND_ECC_DISABLE;
  hnand1.Init.ECCPageSize = FMC_NAND_ECC_PAGE_SIZE_256BYTE;
  hnand1.Init.TCLRSetupTime = 0;
  hnand1.Init.TARSetupTime = 0;
  /* hnand1.Config */
  hnand1.Config.PageSize = 0;
  hnand1.Config.SpareAreaSize = 0;
  hnand1.Config.BlockSize = 0;
  hnand1.Config.BlockNbr = 0;
  hnand1.Config.PlaneNbr = 0;
  hnand1.Config.PlaneSize = 0;
  hnand1.Config.ExtraCommandEnable = DISABLE;
  /* ComSpaceTiming */
  ComSpaceTiming.SetupTime = 252;
  ComSpaceTiming.WaitSetupTime = 252;
  ComSpaceTiming.HoldSetupTime = 252;
  ComSpaceTiming.HiZSetupTime = 252;
  /* AttSpaceTiming */
  AttSpaceTiming.SetupTime = 252;
  AttSpaceTiming.WaitSetupTime = 252;
  AttSpaceTiming.HoldSetupTime = 252;
  AttSpaceTiming.HiZSetupTime = 252;

  if (HAL_NAND_Init(&hnand1, &ComSpaceTiming, &AttSpaceTiming) != HAL_OK)
  {
    Error_Handler( );
  }

}

static void MX_GPIO_Init(void)
{
  GPIO_InitTypeDef GPIO_InitStruct = {0};

  /* GPIO Ports Clock Enable */
  __HAL_RCC_GPIOE_CLK_ENABLE();
  __HAL_RCC_GPIOF_CLK_ENABLE();
  __HAL_RCC_GPIOG_CLK_ENABLE();
  __HAL_RCC_GPIOC_CLK_ENABLE();
  __HAL_RCC_GPIOA_CLK_ENABLE();
  __HAL_RCC_GPIOB_CLK_ENABLE();
  __HAL_RCC_GPIOD_CLK_ENABLE();

  /*Configure GPIO pin Output Level */
  HAL_GPIO_WritePin(GPIOE, ADC_FORMAT2_Pin|ADC_PWDN_0_Pin|ADC_PWDN_1_Pin, GPIO_PIN_RESET);

  /*Configure GPIO pin Output Level */
  HAL_GPIO_WritePin(GPIOE, ADC_MODE0_Pin|ADC_MODE1_Pin|ADC_FORMAT0_Pin|ADC_FORMAT1_Pin, GPIO_PIN_SET);

  /*Configure GPIO pin Output Level */
  HAL_GPIO_WritePin(ARM_RESET_GPIO_Port, ARM_RESET_Pin, GPIO_PIN_RESET);

  /*Configure GPIO pin Output Level */
  HAL_GPIO_WritePin(ADC_SYNC_GPIO_Port, ADC_SYNC_Pin, GPIO_PIN_RESET);

  /*Configure GPIO pin Output Level */
  HAL_GPIO_WritePin(GPIOD, LED_R_Pin|LED_G_Pin, GPIO_PIN_SET);

  /*Configure GPIO pin Output Level */
  HAL_GPIO_WritePin(ADC_CLKDIV_GPIO_Port, ADC_CLKDIV_Pin, GPIO_PIN_RESET);

  /*Configure GPIO pins : ADC_FORMAT2_Pin ADC_PWDN_0_Pin ADC_PWDN_1_Pin ADC_MODE0_Pin
                           ADC_MODE1_Pin ADC_FORMAT0_Pin ADC_FORMAT1_Pin */
  GPIO_InitStruct.Pin = ADC_FORMAT2_Pin|ADC_PWDN_0_Pin|ADC_PWDN_1_Pin|ADC_MODE0_Pin
                          |ADC_MODE1_Pin|ADC_FORMAT0_Pin|ADC_FORMAT1_Pin;
  GPIO_InitStruct.Mode = GPIO_MODE_OUTPUT_PP;
  GPIO_InitStruct.Pull = GPIO_NOPULL;
  GPIO_InitStruct.Speed = GPIO_SPEED_FREQ_LOW;
  HAL_GPIO_Init(GPIOE, &GPIO_InitStruct);

  /*Configure GPIO pin : ARM_RESET_Pin */
  GPIO_InitStruct.Pin = ARM_RESET_Pin;
  GPIO_InitStruct.Mode = GPIO_MODE_OUTPUT_PP;
  GPIO_InitStruct.Pull = GPIO_NOPULL;
  GPIO_InitStruct.Speed = GPIO_SPEED_FREQ_LOW;
  HAL_GPIO_Init(ARM_RESET_GPIO_Port, &GPIO_InitStruct);

  /*Configure GPIO pin : ADC_SYNC_Pin */
  GPIO_InitStruct.Pin = ADC_SYNC_Pin;
  GPIO_InitStruct.Mode = GPIO_MODE_OUTPUT_PP;
  GPIO_InitStruct.Pull = GPIO_NOPULL;
  GPIO_InitStruct.Speed = GPIO_SPEED_FREQ_LOW;
  HAL_GPIO_Init(ADC_SYNC_GPIO_Port, &GPIO_InitStruct);

  /*Configure GPIO pins : LED_R_Pin LED_G_Pin */
  GPIO_InitStruct.Pin = LED_R_Pin|LED_G_Pin;
  GPIO_InitStruct.Mode = GPIO_MODE_OUTPUT_PP;
  GPIO_InitStruct.Pull = GPIO_NOPULL;
  GPIO_InitStruct.Speed = GPIO_SPEED_FREQ_HIGH;
  HAL_GPIO_Init(GPIOD, &GPIO_InitStruct);

  /*Configure GPIO pins : GR_Pin FLOW_Pin PULSE_Pin */
  GPIO_InitStruct.Pin = GR_Pin|FLOW_Pin|PULSE_Pin;
  GPIO_InitStruct.Mode = GPIO_MODE_IT_RISING;
  GPIO_InitStruct.Pull = GPIO_NOPULL;
  HAL_GPIO_Init(GPIOB, &GPIO_InitStruct);

  /*Configure GPIO pin : ADC_CLKDIV_Pin */
  GPIO_InitStruct.Pin = ADC_CLKDIV_Pin;
  GPIO_InitStruct.Mode = GPIO_MODE_OUTPUT_PP;
  GPIO_InitStruct.Pull = GPIO_NOPULL;
  GPIO_InitStruct.Speed = GPIO_SPEED_FREQ_LOW;
  HAL_GPIO_Init(ADC_CLKDIV_GPIO_Port, &GPIO_InitStruct);

}

/* USER CODE BEGIN 4 */
/*void Delay_ms(uint32_t time)
{
   uint32_t i=0;
   while(time--)
   {
      i=100;  //�Լ�����
      while(i--) ;
   }
}*/

void delay_ms(uint16_t nms)
{
     uint16_t i=0;

   while(nms--){

      i=12000;  //�Լ�����
      while(i--) ;
   }
}
/* USER CODE END 4 */

void Error_Handler(void)
{
  __disable_irq();
  while (1)
  {
  }
}
